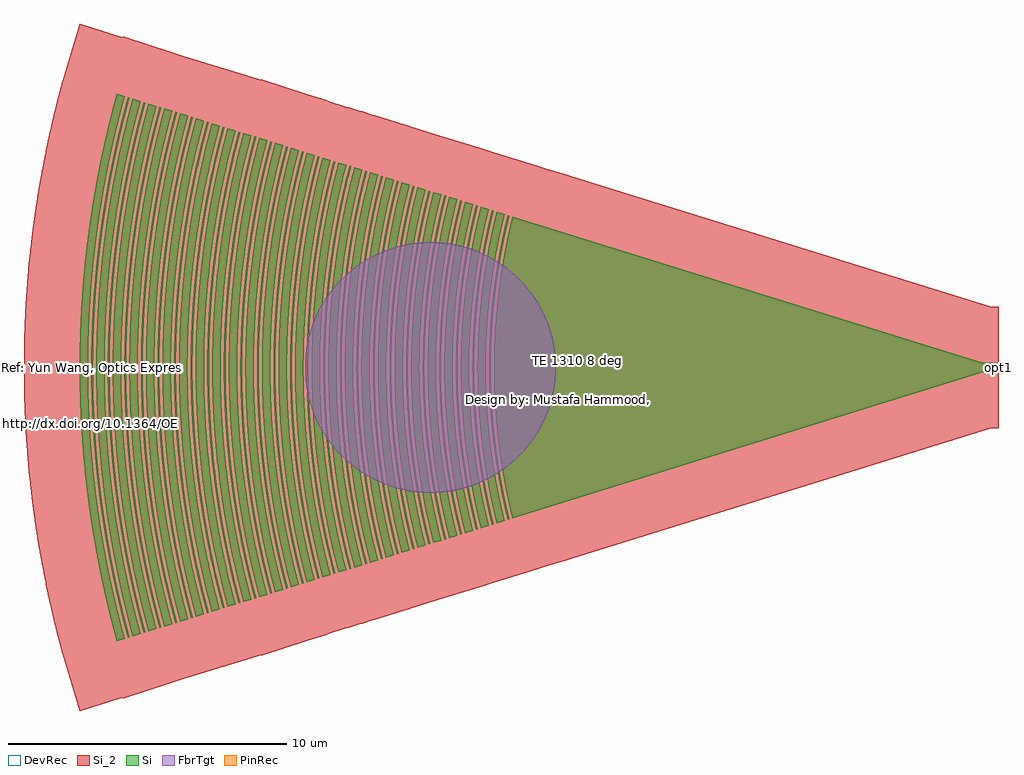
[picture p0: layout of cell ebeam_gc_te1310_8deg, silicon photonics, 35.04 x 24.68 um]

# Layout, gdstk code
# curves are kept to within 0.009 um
import gdstk
lib = gdstk.Library(unit=1e-6, precision=1e-09)
def R(c, l, rs):  # rectangles x0, y0, x1, y1
    for r in rs: c.add(gdstk.rectangle(r[:2], r[2:], *l))
def P(c, l, *ps):  # polygons
    for p in ps: c.add(gdstk.Polygon(p, *l))
Si = (1, 0)
Si_2 = (1, 2)
PinRec = (1, 10)
DevRec = (68, 0)
FbrTgt = (81, 0)

ebeam_gc_te1310_8deg = lib.new_cell('ebeam_gc_te1310_8deg')
R(ebeam_gc_te1310_8deg, Si, [(-0.562,-0.175,0,0.175)])
P(ebeam_gc_te1310_8deg, Si, [(-17.448,-5.418),(-17.448,5.418),(-0.562,0.175),(-0.562,-0.175)],
  [(-17.448,-5.418),(-17.708,-4.245),(-17.832,-3.544),(-17.935,-2.829),(-18.01,-2.162),(-18.063,-1.521),(-18.099,-0.84),(-18.114,-0.187),(-18.108,0.549),(-18.08,1.246),(-18.033,1.91),(-17.954,2.676),(-17.845,3.462),(-17.711,4.229),(-17.448,5.418)],
  [(-17.619,-5.471),(-17.785,-4.76),(-17.91,-4.139),(-18.027,-3.455),(-18.121,-2.783),(-18.194,-2.116),(-18.244,-1.495),(-18.277,-0.866),(-18.293,-0.176),(-18.287,0.548),(-18.26,1.231),(-18.211,1.927),(-18.139,2.635),(-18.029,3.442),(-17.92,4.085),(-17.785,4.76),(-17.619,5.471),(-17.561,5.453),(-17.562,5.446),(-17.719,4.777),(-17.857,4.092),(-17.964,3.464),(-18.077,2.641),(-18.141,2.028),(-18.189,1.402),(-18.218,0.816),(-18.232,0.189),(-18.228,-0.465),(-18.204,-1.133),(-18.159,-1.819),(-18.103,-2.411),(-18.01,-3.156),(-17.88,-3.965),(-17.729,-4.731),(-17.562,-5.446),(-17.561,-5.453)],
  [(-18.016,-5.594),(-18.175,-4.922),(-18.318,-4.219),(-18.441,-3.499),(-18.528,-2.88),(-18.6,-2.24),(-18.654,-1.598),(-18.694,-0.851),(-18.709,-0.194),(-18.704,0.512),(-18.674,1.28),(-18.62,2.026),(-18.545,2.743),(-18.441,3.499),(-18.327,4.171),(-18.184,4.881),(-18.016,5.594),(-17.732,5.506),(-17.877,4.891),(-18.02,4.192),(-18.128,3.572),(-18.23,2.862),(-18.31,2.143),(-18.363,1.484),(-18.395,0.865),(-18.411,0.177),(-18.405,-0.552),(-18.377,-1.253),(-18.329,-1.932),(-18.249,-2.708),(-18.145,-3.464),(-18.045,-4.057),(-17.912,-4.73),(-17.732,-5.506)],
  [(-18.187,-5.647),(-18.328,-5.057),(-18.486,-4.293),(-18.595,-3.67),(-18.696,-2.976),(-18.777,-2.267),(-18.838,-1.528),(-18.873,-0.851),(-18.888,-0.18),(-18.881,0.595),(-18.852,1.3),(-18.802,1.998),(-18.726,2.735),(-18.624,3.485),(-18.5,4.218),(-18.367,4.88),(-18.187,5.647),(-18.129,5.629),(-18.292,4.939),(-18.452,4.143),(-18.559,3.508),(-18.673,2.665),(-18.736,2.053),(-18.784,1.42),(-18.816,0.738),(-18.827,0.193),(-18.823,-0.469),(-18.799,-1.151),(-18.758,-1.792),(-18.69,-2.514),(-18.578,-3.378),(-18.452,-4.143),(-18.292,-4.939),(-18.129,-5.629)],
  [(-18.584,-5.771),(-18.751,-5.07),(-18.894,-4.373),(-19.019,-3.652),(-19.116,-2.971),(-19.186,-2.359),(-19.246,-1.661),(-19.287,-0.912),(-19.304,-0.191),(-19.298,0.566),(-19.267,1.329),(-19.214,2.063),(-19.13,2.859),(-19.019,3.652),(-18.894,4.373),(-18.751,5.07),(-18.584,5.771),(-18.3,5.682),(-18.448,5.061),(-18.597,4.34),(-18.713,3.679),(-18.817,2.96),(-18.897,2.253),(-18.949,1.635),(-18.989,0.905),(-19.006,0.181),(-19,-0.557),(-18.969,-1.322),(-18.917,-2.038),(-18.846,-2.725),(-18.738,-3.52),(-18.624,-4.196),(-18.487,-4.883),(-18.3,-5.682)],
  [(-18.755,-5.824),(-18.919,-5.138),(-19.052,-4.498),(-19.181,-3.771),(-19.289,-3.028),(-19.367,-2.346),(-19.431,-1.578),(-19.466,-0.914),(-19.483,-0.18),(-19.477,0.561),(-19.447,1.317),(-19.394,2.057),(-19.311,2.852),(-19.2,3.652),(-19.08,4.351),(-18.919,5.138),(-18.755,5.824),(-18.697,5.806),(-18.874,5.06),(-19.031,4.282),(-19.151,3.571),(-19.255,2.81),(-19.326,2.135),(-19.374,1.517),(-19.406,0.891),(-19.422,0.194),(-19.417,-0.525),(-19.394,-1.165),(-19.347,-1.889),(-19.28,-2.591),(-19.173,-3.424),(-19.055,-4.15),(-18.895,-4.963),(-18.697,-5.806)],
  [(-19.153,-5.947),(-19.303,-5.325),(-19.464,-4.558),(-19.594,-3.823),(-19.701,-3.085),(-19.79,-2.295),(-19.85,-1.547),(-19.883,-0.898),(-19.899,-0.198),(-19.892,0.61),(-19.858,1.417),(-19.804,2.144),(-19.727,2.877),(-19.621,3.651),(-19.495,4.394),(-19.33,5.204),(-19.153,5.947),(-18.868,5.859),(-19.036,5.155),(-19.183,4.441),(-19.298,3.787),(-19.411,3.004),(-19.487,2.332),(-19.55,1.566),(-19.586,0.863),(-19.601,0.181),(-19.595,-0.565),(-19.561,-1.389),(-19.507,-2.119),(-19.426,-2.884),(-19.317,-3.667),(-19.188,-4.415),(-19.036,-5.155),(-18.868,-5.859)],
  [(-19.324,-6),(-19.509,-5.223),(-19.656,-4.505),(-19.78,-3.792),(-19.876,-3.126),(-19.96,-2.394),(-20.026,-1.596),(-20.062,-0.897),(-20.078,-0.184),(-20.071,0.609),(-20.038,1.402),(-19.983,2.15),(-19.903,2.911),(-19.789,3.735),(-19.672,4.42),(-19.509,5.223),(-19.324,6),(-19.265,5.982),(-19.447,5.221),(-19.606,4.442),(-19.738,3.666),(-19.848,2.859),(-19.918,2.194),(-19.97,1.519),(-20.002,0.873),(-20.017,0.198),(-20.012,-0.528),(-19.986,-1.239),(-19.939,-1.95),(-19.867,-2.695),(-19.752,-3.574),(-19.627,-4.328),(-19.447,-5.221),(-19.265,-5.982)],
  [(-19.721,-6.124),(-19.885,-5.446),(-20.042,-4.7),(-20.178,-3.936),(-20.288,-3.184),(-20.368,-2.495),(-20.431,-1.769),(-20.474,-1.012),(-20.494,-0.195),(-20.486,0.659),(-20.454,1.416),(-20.4,2.158),(-20.313,2.986),(-20.199,3.804),(-20.063,4.591),(-19.898,5.388),(-19.721,6.124),(-19.436,6.035),(-19.591,5.396),(-19.75,4.642),(-19.889,3.857),(-20.001,3.08),(-20.087,2.307),(-20.145,1.584),(-20.181,0.874),(-20.196,0.185),(-20.189,-0.613),(-20.157,-1.388),(-20.099,-2.18),(-20.018,-2.943),(-19.915,-3.692),(-19.775,-4.51),(-19.615,-5.289),(-19.436,-6.035)],
  [(-19.892,-6.177),(-20.061,-5.478),(-20.229,-4.675),(-20.355,-3.962),(-20.463,-3.225),(-20.553,-2.442),(-20.61,-1.775),(-20.653,-1.011),(-20.673,-0.18),(-20.666,0.614),(-20.632,1.437),(-20.581,2.141),(-20.488,3.028),(-20.377,3.823),(-20.244,4.595),(-20.074,5.42),(-19.892,6.177),(-19.834,6.159),(-19.835,6.151),(-20.036,5.311),(-20.193,4.538),(-20.324,3.769),(-20.434,2.968),(-20.506,2.296),(-20.559,1.63),(-20.594,0.964),(-20.612,0.202),(-20.608,-0.487),(-20.58,-1.272),(-20.535,-1.96),(-20.462,-2.727),(-20.347,-3.616),(-20.209,-4.451),(-20.036,-5.311),(-19.835,-6.151),(-19.834,-6.159)],
  [(-20.289,-6.3),(-20.484,-5.492),(-20.62,-4.842),(-20.761,-4.056),(-20.876,-3.275),(-20.97,-2.454),(-21.032,-1.705),(-21.073,-0.919),(-21.089,-0.199),(-21.082,0.626),(-21.053,1.361),(-21,2.125),(-20.907,3.029),(-20.786,3.9),(-20.657,4.65),(-20.484,5.492),(-20.289,6.3),(-20.004,6.212),(-20.183,5.473),(-20.344,4.701),(-20.472,3.977),(-20.591,3.155),(-20.681,2.345),(-20.742,1.571),(-20.776,0.884),(-20.791,0.189),(-20.784,-0.617),(-20.751,-1.423),(-20.699,-2.146),(-20.612,-2.986),(-20.501,-3.794),(-20.362,-4.606),(-20.196,-5.415),(-20.004,-6.212)],
  [(-20.46,-6.353),(-20.66,-5.524),(-20.813,-4.786),(-20.95,-4.008),(-21.071,-3.16),(-21.157,-2.377),(-21.221,-1.554),(-21.252,-0.918),(-21.268,-0.184),(-21.262,0.581),(-21.231,1.382),(-21.17,2.235),(-21.083,3.063),(-20.964,3.919),(-20.813,4.786),(-20.66,5.524),(-20.46,6.353),(-20.402,6.335),(-20.593,5.545),(-20.764,4.719),(-20.905,3.904),(-21.02,3.077),(-21.1,2.333),(-21.158,1.587),(-21.191,0.923),(-21.207,0.205),(-21.202,-0.542),(-21.175,-1.289),(-21.121,-2.094),(-21.048,-2.839),(-20.928,-3.752),(-20.783,-4.617),(-20.611,-5.464),(-20.402,-6.335)],
  [(-20.857,-6.476),(-21.04,-5.729),(-21.201,-4.97),(-21.34,-4.2),(-21.445,-3.503),(-21.544,-2.689),(-21.617,-1.867),(-21.664,-1.035),(-21.684,-0.202),(-21.678,0.592),(-21.641,1.501),(-21.579,2.332),(-21.492,3.146),(-21.379,3.957),(-21.233,4.804),(-21.067,5.609),(-20.857,6.476),(-20.573,6.388),(-20.764,5.599),(-20.938,4.76),(-21.067,4.023),(-21.183,3.215),(-21.27,2.435),(-21.328,1.728),(-21.368,0.976),(-21.386,0.192),(-21.38,-0.584),(-21.344,-1.473),(-21.282,-2.309),(-21.197,-3.103),(-21.087,-3.896),(-20.938,-4.76),(-20.764,-5.599),(-20.573,-6.388)],
  [(-21.028,-6.529),(-21.223,-5.73),(-21.377,-5.001),(-21.531,-4.141),(-21.638,-3.414),(-21.736,-2.57),(-21.8,-1.816),(-21.844,-1.008),(-21.863,-0.191),(-21.855,0.672),(-21.82,1.504),(-21.759,2.328),(-21.67,3.163),(-21.555,3.989),(-21.409,4.835),(-21.223,5.73),(-21.028,6.529),(-20.97,6.511),(-21.176,5.662),(-21.341,4.867),(-21.501,3.941),(-21.619,3.079),(-21.693,2.381),(-21.75,1.652),(-21.788,0.876),(-21.802,0.206),(-21.796,-0.594),(-21.764,-1.416),(-21.713,-2.153),(-21.634,-2.95),(-21.526,-3.775),(-21.372,-4.702),(-21.186,-5.617),(-20.97,-6.511)],
  [(-21.426,-6.653),(-21.623,-5.846),(-21.776,-5.127),(-21.932,-4.266),(-22.047,-3.494),(-22.15,-2.611),(-22.213,-1.874),(-22.26,-1.019),(-22.279,-0.202),(-22.273,0.599),(-22.236,1.517),(-22.17,2.402),(-22.077,3.262),(-21.938,4.231),(-21.809,4.958),(-21.623,5.846),(-21.426,6.653),(-21.141,6.564),(-21.304,5.904),(-21.466,5.157),(-21.605,4.414),(-21.737,3.562),(-21.843,2.684),(-21.917,1.834),(-21.962,1.013),(-21.981,0.192),(-21.975,-0.591),(-21.936,-1.542),(-21.875,-2.355),(-21.784,-3.203),(-21.659,-4.088),(-21.511,-4.93),(-21.33,-5.791),(-21.141,-6.564)],
  [(-21.596,-6.706),(-21.787,-5.931),(-21.973,-5.052),(-22.104,-4.322),(-22.229,-3.482),(-22.323,-2.678),(-22.393,-1.864),(-22.44,-0.995),(-22.458,-0.187),(-22.449,0.715),(-22.407,1.655),(-22.342,2.484),(-22.246,3.351),(-22.136,4.126),(-21.973,5.052),(-21.787,5.931),(-21.596,6.706),(-21.538,6.688),(-21.73,5.907),(-21.921,5),(-22.08,4.088),(-22.205,3.187),(-22.29,2.385),(-22.351,1.573),(-22.382,0.914),(-22.397,0.209),(-22.39,-0.643),(-22.361,-1.395),(-22.31,-2.153),(-22.225,-3.018),(-22.107,-3.911),(-21.95,-4.847),(-21.749,-5.823),(-21.538,-6.688)],
  [(-21.994,-6.829),(-22.208,-5.954),(-22.377,-5.153),(-22.511,-4.41),(-22.638,-3.562),(-22.741,-2.68),(-22.811,-1.851),(-22.856,-1.005),(-22.874,-0.206),(-22.866,0.689),(-22.83,1.551),(-22.77,2.372),(-22.68,3.232),(-22.549,4.175),(-22.401,5.028),(-22.208,5.954),(-21.994,6.829),(-21.709,6.741),(-21.906,5.939),(-22.076,5.14),(-22.221,4.337),(-22.334,3.586),(-22.433,2.762),(-22.509,1.897),(-22.557,1.023),(-22.576,0.195),(-22.569,-0.641),(-22.534,-1.507),(-22.47,-2.38),(-22.384,-3.197),(-22.257,-4.113),(-22.116,-4.932),(-21.927,-5.847),(-21.709,-6.741)],
  [(-22.165,-6.882),(-22.345,-6.156),(-22.53,-5.301),(-22.697,-4.383),(-22.813,-3.603),(-22.919,-2.698),(-22.989,-1.872),(-23.034,-1.032),(-23.053,-0.194),(-23.046,0.645),(-23.01,1.538),(-22.943,2.447),(-22.856,3.265),(-22.736,4.136),(-22.583,5.028),(-22.407,5.884),(-22.165,6.882),(-22.107,6.864),(-22.336,5.923),(-22.525,5.007),(-22.67,4.164),(-22.795,3.264),(-22.876,2.51),(-22.93,1.841),(-22.972,1.061),(-22.992,0.209),(-22.985,-0.651),(-22.954,-1.447),(-22.886,-2.4),(-22.809,-3.146),(-22.688,-4.047),(-22.525,-5.007),(-22.336,-5.923),(-22.107,-6.864)],
  [(-22.562,-7.006),(-22.77,-6.164),(-22.946,-5.341),(-23.102,-4.482),(-23.224,-3.667),(-23.324,-2.827),(-23.401,-1.943),(-23.45,-1.043),(-23.469,-0.205),(-23.459,0.769),(-23.42,1.654),(-23.344,2.626),(-23.242,3.531),(-23.115,4.402),(-22.957,5.285),(-22.77,6.164),(-22.562,7.006),(-22.277,6.917),(-22.477,6.109),(-22.665,5.226),(-22.808,4.433),(-22.938,3.558),(-23.037,2.704),(-23.105,1.903),(-23.151,1.061),(-23.171,0.195),(-23.163,-0.688),(-23.125,-1.593),(-23.056,-2.506),(-22.966,-3.337),(-22.826,-4.323),(-22.671,-5.195),(-22.477,-6.109),(-22.277,-6.917)],
  [(-22.733,-7.059),(-22.95,-6.179),(-23.125,-5.359),(-23.283,-4.483),(-23.402,-3.686),(-23.501,-2.854),(-23.577,-1.989),(-23.63,-1.017),(-23.648,-0.197),(-23.638,0.768),(-23.601,1.623),(-23.536,2.494),(-23.423,3.526),(-23.292,4.428),(-23.122,5.373),(-22.95,6.179),(-22.733,7.059),(-22.675,7.041),(-22.902,6.116),(-23.11,5.114),(-23.271,4.17),(-23.4,3.214),(-23.484,2.392),(-23.54,1.623),(-23.572,0.934),(-23.587,0.213),(-23.581,-0.613),(-23.549,-1.463),(-23.484,-2.392),(-23.4,-3.214),(-23.271,-4.17),(-23.11,-5.114),(-22.902,-6.116),(-22.675,-7.041)],
  [(-23.13,-7.182),(-23.35,-6.295),(-23.532,-5.443),(-23.682,-4.619),(-23.813,-3.751),(-23.914,-2.905),(-23.994,-1.991),(-24.046,-1.027),(-24.064,-0.209),(-24.053,0.814),(-24.005,1.828),(-23.936,2.685),(-23.826,3.653),(-23.71,4.449),(-23.532,5.443),(-23.35,6.295),(-23.13,7.182),(-22.846,7.094),(-23.053,6.257),(-23.237,5.399),(-23.408,4.45),(-23.525,3.656),(-23.619,2.861),(-23.697,1.966),(-23.747,1.046),(-23.766,0.198),(-23.756,-0.772),(-23.718,-1.644),(-23.651,-2.531),(-23.547,-3.483),(-23.417,-4.394),(-23.251,-5.33),(-23.073,-6.17),(-22.846,-7.094)],
  [(-23.301,-7.235),(-23.521,-6.349),(-23.705,-5.49),(-23.867,-4.598),(-23.989,-3.784),(-24.092,-2.922),(-24.176,-1.955),(-24.224,-1.054),(-24.243,-0.196),(-24.233,0.776),(-24.193,1.691),(-24.121,2.629),(-24.024,3.516),(-23.886,4.481),(-23.724,5.393),(-23.521,6.349),(-23.301,7.235),(-23.243,7.217),(-23.453,6.373),(-23.66,5.404),(-23.817,4.526),(-23.944,3.661),(-24.044,2.793),(-24.116,1.939),(-24.161,1.109),(-24.182,0.212),(-24.176,-0.62),(-24.142,-1.516),(-24.085,-2.346),(-23.996,-3.239),(-23.864,-4.227),(-23.697,-5.211),(-23.486,-6.229),(-23.243,-7.217)],
  [(-23.699,-7.359),(-23.919,-6.474),(-24.099,-5.641),(-24.268,-4.722),(-24.399,-3.857),(-24.506,-2.964),(-24.585,-2.069),(-24.64,-1.064),(-24.659,-0.216),(-24.65,0.748),(-24.604,1.787),(-24.53,2.724),(-24.422,3.683),(-24.287,4.607),(-24.125,5.51),(-23.919,6.474),(-23.699,7.359),(-23.414,7.27),(-23.62,6.444),(-23.812,5.557),(-23.974,4.673),(-24.11,3.769),(-24.216,2.873),(-24.292,1.986),(-24.34,1.109),(-24.361,0.197),(-24.35,-0.813),(-24.302,-1.839),(-24.225,-2.781),(-24.123,-3.671),(-23.998,-4.527),(-23.828,-5.476),(-23.633,-6.388),(-23.414,-7.27)],
  [(-23.869,-7.412),(-24.088,-6.536),(-24.293,-5.582),(-24.448,-4.729),(-24.585,-3.815),(-24.69,-2.923),(-24.766,-2.046),(-24.818,-1.092),(-24.838,-0.195),(-24.828,0.785),(-24.781,1.822),(-24.704,2.783),(-24.597,3.725),(-24.448,4.729),(-24.293,5.582),(-24.088,6.536),(-23.869,7.412),(-23.811,7.394),(-24.033,6.504),(-24.237,5.552),(-24.407,4.603),(-24.54,3.691),(-24.637,2.842),(-24.711,1.958),(-24.759,1.039),(-24.777,0.22),(-24.771,-0.625),(-24.738,-1.511),(-24.675,-2.429),(-24.594,-3.246),(-24.467,-4.217),(-24.281,-5.323),(-24.061,-6.382),(-23.811,-7.394)],
  [(-24.267,-7.535),(-24.478,-6.695),(-24.667,-5.833),(-24.834,-4.942),(-24.986,-3.955),(-25.098,-3.023),(-25.177,-2.13),(-25.23,-1.203),(-25.254,-0.215),(-25.242,0.865),(-25.198,1.819),(-25.124,2.762),(-25.016,3.728),(-24.884,4.641),(-24.715,5.592),(-24.505,6.579),(-24.267,7.535),(-23.982,7.447),(-24.2,6.575),(-24.39,5.7),(-24.557,4.793),(-24.697,3.871),(-24.808,2.929),(-24.883,2.064),(-24.938,1.039),(-24.956,0.204),(-24.945,-0.822),(-24.895,-1.889),(-24.822,-2.788),(-24.718,-3.709),(-24.568,-4.727),(-24.413,-5.583),(-24.2,-6.575),(-23.982,-7.447)],
  [(-24.438,-7.588),(-24.67,-6.659),(-24.855,-5.805),(-25.02,-4.915),(-25.162,-3.987),(-25.269,-3.107),(-25.355,-2.149),(-25.411,-1.155),(-25.433,-0.202),(-25.423,0.793),(-25.373,1.888),(-25.293,2.872),(-25.191,3.77),(-25.045,4.765),(-24.883,5.664),(-24.672,6.65),(-24.438,7.588),(-24.38,7.57),(-24.619,6.609),(-24.822,5.659),(-24.992,4.712),(-25.134,3.736),(-25.235,2.84),(-25.309,1.934),(-25.353,1.077),(-25.372,0.219),(-25.363,-0.757),(-25.326,-1.657),(-25.262,-2.547),(-25.16,-3.527),(-25.016,-4.562),(-24.843,-5.551),(-24.636,-6.535),(-24.38,-7.57)],
  [(-24.835,-7.711),(-25.068,-6.783),(-25.267,-5.866),(-25.444,-4.902),(-25.573,-4.053),(-25.691,-3.073),(-25.774,-2.124),(-25.826,-1.191),(-25.849,-0.214),(-25.84,0.763),(-25.797,1.773),(-25.722,2.757),(-25.608,3.789),(-25.469,4.749),(-25.302,5.689),(-25.099,6.649),(-24.835,7.711),(-24.55,7.623),(-24.784,6.689),(-25.003,5.665),(-25.161,4.787),(-25.29,3.922),(-25.395,3.037),(-25.478,2.083),(-25.532,1.076),(-25.551,0.203),(-25.54,-0.83),(-25.496,-1.812),(-25.424,-2.742),(-25.312,-3.755),(-25.176,-4.695),(-25.003,-5.665),(-24.776,-6.724),(-24.55,-7.623)],
  [(-25.006,-7.765),(-25.231,-6.871),(-25.433,-5.947),(-25.62,-4.934),(-25.764,-3.975),(-25.876,-3.022),(-25.952,-2.143),(-26.003,-1.237),(-26.028,-0.201),(-26.018,0.8),(-25.973,1.827),(-25.896,2.817),(-25.784,3.822),(-25.634,4.849),(-25.465,5.787),(-25.268,6.712),(-25.006,7.765),(-24.948,7.746),(-25.184,6.805),(-25.404,5.782),(-25.57,4.863),(-25.726,3.796),(-25.829,2.879),(-25.899,2.027),(-25.948,1.089),(-25.967,0.218),(-25.959,-0.722),(-25.924,-1.618),(-25.848,-2.674),(-25.742,-3.669),(-25.604,-4.652),(-25.404,-5.782),(-25.184,-6.805),(-24.948,-7.746)],
  [(-25.403,-7.888),(-25.598,-7.125),(-25.84,-6.033),(-26.017,-5.081),(-26.167,-4.099),(-26.284,-3.122),(-26.366,-2.186),(-26.417,-1.3),(-26.444,-0.222),(-26.432,0.883),(-26.387,1.873),(-26.308,2.879),(-26.199,3.857),(-26.04,4.944),(-25.869,5.888),(-25.678,6.785),(-25.403,7.888),(-25.119,7.8),(-25.384,6.734),(-25.548,5.974),(-25.733,4.973),(-25.876,4.027),(-25.987,3.095),(-26.069,2.161),(-26.12,1.268),(-26.146,0.202),(-26.135,-0.838),(-26.087,-1.895),(-26.01,-2.864),(-25.903,-3.822),(-25.761,-4.803),(-25.585,-5.788),(-25.384,-6.734),(-25.119,-7.8)],
  [(-25.574,-7.941),(-25.773,-7.162),(-26.013,-6.08),(-26.202,-5.06),(-26.355,-4.044),(-26.464,-3.119),(-26.549,-2.135),(-26.602,-1.151),(-26.623,-0.204),(-26.614,0.769),(-26.57,1.811),(-26.492,2.834),(-26.373,3.906),(-26.212,5),(-26.037,5.96),(-25.831,6.917),(-25.574,7.941),(-25.516,7.923),(-25.796,6.798),(-25.976,5.955),(-26.155,4.971),(-26.314,3.888),(-26.42,2.948),(-26.495,2.032),(-26.544,1.07),(-26.562,0.221),(-26.554,-0.732),(-26.518,-1.651),(-26.444,-2.689),(-26.344,-3.647),(-26.187,-4.774),(-26.011,-5.776),(-25.796,-6.798),(-25.516,-7.923)],
  [(-25.972,-8.064),(-26.211,-7.118),(-26.42,-6.166),(-26.612,-5.13),(-26.758,-4.168),(-26.88,-3.142),(-26.964,-2.165),(-27.015,-1.24),(-27.039,-0.225),(-27.029,0.816),(-26.983,1.874),(-26.894,3.001),(-26.779,4.01),(-26.638,4.973),(-26.453,6.001),(-26.215,7.101),(-25.972,8.064),(-25.687,7.976),(-25.897,7.151),(-26.133,6.081),(-26.312,5.117),(-26.454,4.192),(-26.574,3.203),(-26.66,2.237),(-26.715,1.278),(-26.741,0.205),(-26.732,-0.772),(-26.685,-1.865),(-26.611,-2.829),(-26.492,-3.906),(-26.356,-4.849),(-26.164,-5.926),(-25.957,-6.895),(-25.687,-7.976)],
  [(-26.142,-8.117),(-26.39,-7.138),(-26.591,-6.222),(-26.788,-5.162),(-26.934,-4.201),(-27.049,-3.247),(-27.142,-2.184),(-27.191,-1.313),(-27.218,-0.203),(-27.209,0.775),(-27.16,1.911),(-27.082,2.915),(-26.963,3.983),(-26.801,5.083),(-26.612,6.118),(-26.394,7.121),(-26.142,8.117),(-26.084,8.099),(-26.319,7.174),(-26.575,5.992),(-26.754,4.996),(-26.905,3.956),(-27.009,3.038),(-27.088,2.082),(-27.138,1.108),(-27.157,0.229),(-27.147,-0.818),(-27.104,-1.828),(-27.036,-2.749),(-26.928,-3.773),(-26.775,-4.863),(-26.575,-5.992),(-26.319,-7.174),(-26.084,-8.099)],
  [(-26.54,-8.241),(-26.775,-7.317),(-26.998,-6.308),(-27.18,-5.338),(-27.339,-4.31),(-27.464,-3.278),(-27.551,-2.297),(-27.611,-1.225),(-27.634,-0.224),(-27.625,0.787),(-27.575,1.94),(-27.495,2.967),(-27.37,4.079),(-27.207,5.178),(-27.014,6.229),(-26.804,7.194),(-26.54,8.241),(-26.255,8.152),(-26.51,7.143),(-26.713,6.214),(-26.896,5.231),(-27.053,4.202),(-27.168,3.243),(-27.259,2.202),(-27.31,1.292),(-27.336,0.212),(-27.327,-0.779),(-27.282,-1.849),(-27.191,-3.014),(-27.074,-4.044),(-26.917,-5.105),(-26.734,-6.109),(-26.51,-7.143),(-26.255,-8.152)],
  [(-26.711,-8.294),(-26.946,-7.371),(-27.187,-6.275),(-27.392,-5.156),(-27.531,-4.226),(-27.646,-3.257),(-27.735,-2.233),(-27.789,-1.251),(-27.813,-0.206),(-27.803,0.822),(-27.756,1.912),(-27.669,3.026),(-27.552,4.066),(-27.392,5.156),(-27.208,6.17),(-26.979,7.231),(-26.711,8.294),(-26.652,8.276),(-26.91,7.259),(-27.154,6.13),(-27.338,5.109),(-27.493,4.048),(-27.606,3.046),(-27.681,2.13),(-27.734,1.088),(-27.752,0.223),(-27.741,-0.865),(-27.699,-1.845),(-27.621,-2.886),(-27.512,-3.898),(-27.348,-5.047),(-27.154,-6.13),(-26.91,-7.259),(-26.652,-8.276)],
  [(-27.108,-8.417),(-27.383,-7.33),(-27.587,-6.396),(-27.78,-5.358),(-27.935,-4.343),(-28.063,-3.27),(-28.151,-2.248),(-28.204,-1.288),(-28.229,-0.227),(-28.217,0.907),(-28.165,2.04),(-28.087,3.026),(-27.959,4.163),(-27.798,5.25),(-27.587,6.396),(-27.383,7.33),(-27.108,8.417),(-26.823,8.329),(-27.066,7.376),(-27.302,6.302),(-27.475,5.373),(-27.638,4.315),(-27.766,3.244),(-27.852,2.251),(-27.909,1.202),(-27.931,0.215),(-27.921,-0.826),(-27.871,-1.964),(-27.788,-3.021),(-27.663,-4.128),(-27.508,-5.177),(-27.325,-6.187),(-27.095,-7.253),(-26.823,-8.329)],
  [(-27.279,-8.47),(-27.537,-7.456),(-27.767,-6.408),(-27.953,-5.408),(-28.106,-4.412),(-28.241,-3.287),(-28.329,-2.267),(-28.384,-1.263),(-28.408,-0.213),(-28.397,0.865),(-28.347,1.996),(-28.259,3.107),(-28.135,4.196),(-27.974,5.282),(-27.767,6.408),(-27.537,7.456),(-27.279,8.47),(-27.221,8.452),(-27.495,7.369),(-27.706,6.403),(-27.923,5.217),(-28.076,4.178),(-28.195,3.136),(-28.274,2.181),(-28.321,1.314),(-28.347,0.23),(-28.337,-0.836),(-28.289,-1.946),(-28.217,-2.902),(-28.11,-3.909),(-27.956,-5.012),(-27.75,-6.181),(-27.495,-7.369),(-27.221,-8.452)],
  [(-27.676,-8.594),(-27.928,-7.609),(-28.154,-6.592),(-28.36,-5.496),(-28.517,-4.477),(-28.641,-3.463),(-28.745,-2.282),(-28.8,-1.272),(-28.824,-0.225),(-28.814,0.841),(-28.766,1.961),(-28.677,3.106),(-28.556,4.185),(-28.414,5.169),(-28.205,6.339),(-27.964,7.457),(-27.676,8.594),(-27.392,8.505),(-27.653,7.478),(-27.873,6.479),(-28.064,5.459),(-28.23,4.376),(-28.361,3.273),(-28.446,2.285),(-28.504,1.214),(-28.526,0.214),(-28.513,-0.941),(-28.463,-2.031),(-28.371,-3.174),(-28.247,-4.25),(-28.087,-5.322),(-27.9,-6.345),(-27.674,-7.389),(-27.392,-8.505)],
  [(-27.847,-8.647),(-28.101,-7.655),(-28.34,-6.575),(-28.527,-5.58),(-28.697,-4.481),(-28.828,-3.395),(-28.922,-2.316),(-28.978,-1.298),(-29.003,-0.216),(-28.991,0.913),(-28.942,2.013),(-28.85,3.176),(-28.724,4.28),(-28.559,5.39),(-28.351,6.521),(-28.101,7.655),(-27.847,8.647),(-27.789,8.629),(-28.055,7.585),(-28.288,6.525),(-28.493,5.415),(-28.665,4.262),(-28.775,3.315),(-28.862,2.302),(-28.919,1.25),(-28.942,0.234),(-28.933,-0.801),(-28.892,-1.826),(-28.81,-2.95),(-28.694,-4.035),(-28.539,-5.134),(-28.324,-6.345),(-28.072,-7.513),(-27.789,-8.629)],
  [(-28.244,-8.77),(-28.509,-7.737),(-28.736,-6.715),(-28.929,-5.697),(-29.098,-4.619),(-29.245,-3.407),(-29.328,-2.47),(-29.393,-1.336),(-29.419,-0.228),(-29.405,0.991),(-29.353,2.107),(-29.269,3.166),(-29.138,4.323),(-28.968,5.467),(-28.762,6.587),(-28.509,7.737),(-28.244,8.77),(-27.96,8.682),(-28.232,7.614),(-28.455,6.602),(-28.649,5.566),(-28.806,4.554),(-28.947,3.391),(-29.031,2.445),(-29.097,1.276),(-29.121,0.217),(-29.112,-0.797),(-29.062,-1.985),(-28.97,-3.161),(-28.849,-4.234),(-28.699,-5.266),(-28.486,-6.448),(-28.232,-7.614),(-27.96,-8.682)],
  [(-28.415,-8.823),(-28.695,-7.728),(-28.922,-6.698),(-29.118,-5.653),(-29.287,-4.558),(-29.43,-3.356),(-29.517,-2.337),(-29.575,-1.259),(-29.598,-0.209),(-29.584,0.99),(-29.533,2.095),(-29.448,3.174),(-29.313,4.364),(-29.155,5.433),(-28.935,6.634),(-28.695,7.728),(-28.415,8.823),(-28.357,8.805),(-28.634,7.721),(-28.883,6.584),(-29.083,5.495),(-29.248,4.392),(-29.376,3.285),(-29.457,2.323),(-29.512,1.313),(-29.537,0.237),(-29.527,-0.849),(-29.478,-1.998),(-29.398,-3.053),(-29.28,-4.143),(-29.119,-5.275),(-28.894,-6.529),(-28.634,-7.721),(-28.357,-8.805)],
  [(-28.813,-8.947),(-29.099,-7.827),(-29.333,-6.764),(-29.536,-5.676),(-29.702,-4.594),(-29.825,-3.582),(-29.923,-2.492),(-29.987,-1.371),(-30.014,-0.231),(-30.001,0.966),(-29.951,2.078),(-29.861,3.225),(-29.732,4.369),(-29.564,5.509),(-29.348,6.69),(-29.099,7.827),(-28.813,8.947),(-28.528,8.858),(-28.785,7.859),(-29.037,6.724),(-29.248,5.593),(-29.401,4.594),(-29.53,3.537),(-29.626,2.467),(-29.69,1.339),(-29.716,0.219),(-29.702,-0.994),(-29.653,-2.068),(-29.561,-3.23),(-29.431,-4.372),(-29.268,-5.473),(-29.063,-6.596),(-28.785,-7.859),(-28.528,-8.858)],
  [(-28.984,-9),(-29.261,-7.918),(-29.506,-6.811),(-29.706,-5.744),(-29.877,-4.634),(-30.013,-3.504),(-30.104,-2.47),(-30.168,-1.323),(-30.193,-0.212),(-30.18,0.965),(-30.131,2.066),(-30.039,3.242),(-29.907,4.41),(-29.745,5.511),(-29.521,6.737),(-29.285,7.817),(-28.984,9),(-28.925,8.982),(-29.216,7.844),(-29.458,6.742),(-29.679,5.537),(-29.848,4.392),(-29.966,3.364),(-30.052,2.343),(-30.109,1.273),(-30.132,0.23),(-30.121,-0.897),(-30.078,-1.93),(-29.997,-3.036),(-29.881,-4.13),(-29.731,-5.212),(-29.562,-6.205),(-29.422,-6.917),(-29.252,-7.691),(-29.101,-8.315),(-28.925,-8.982)],
  [(-29.381,-9.123),(-29.656,-8.055),(-29.898,-6.97),(-30.121,-5.785),(-30.292,-4.67),(-30.439,-3.427),(-30.518,-2.513),(-30.581,-1.408),(-30.609,-0.234),(-30.597,0.94),(-30.542,2.161),(-30.453,3.284),(-30.326,4.414),(-30.151,5.606),(-29.938,6.773),(-29.676,7.971),(-29.381,9.123),(-29.096,9.035),(-29.377,7.94),(-29.619,6.847),(-29.833,5.701),(-29.991,4.671),(-30.139,3.431),(-30.223,2.46),(-30.287,1.299),(-30.311,0.222),(-30.299,-0.931),(-30.247,-2.102),(-30.153,-3.29),(-30.025,-4.418),(-29.847,-5.617),(-29.638,-6.754),(-29.377,-7.94),(-29.096,-9.035)],
  [(-29.552,-9.176),(-29.829,-8.1),(-30.067,-7.036),(-30.286,-5.881),(-30.467,-4.711),(-30.558,-3.991),(-30.623,-3.384),(-30.699,-2.491),(-30.762,-1.358),(-30.788,-0.214),(-30.774,1.005),(-30.723,2.134),(-30.623,3.384),(-30.486,4.569),(-30.31,5.739),(-30.092,6.914),(-29.853,8),(-29.552,9.176),(-29.494,9.158),(-29.788,8.01),(-30.046,6.835),(-30.255,5.7),(-30.442,4.437),(-30.569,3.311),(-30.649,2.334),(-30.702,1.336),(-30.727,0.233),(-30.718,-0.823),(-30.667,-2.049),(-30.584,-3.15),(-30.466,-4.248),(-30.336,-5.192),(-30.163,-6.226),(-30.025,-6.938),(-29.851,-7.74),(-29.667,-8.502),(-29.494,-9.158)],
  [(-29.949,-9.299),(-30.254,-8.112),(-30.482,-7.083),(-30.706,-5.893),(-30.886,-4.717),(-31.008,-3.709),(-31.111,-2.563),(-31.177,-1.396),(-31.204,-0.237),(-31.19,1.019),(-31.131,2.274),(-31.029,3.507),(-30.904,4.582),(-30.738,5.702),(-30.511,6.941),(-30.253,8.115),(-29.949,9.299),(-29.664,9.211),(-29.963,8.047),(-30.209,6.931),(-30.41,5.856),(-30.581,4.748),(-30.715,3.645),(-30.816,2.51),(-30.878,1.411),(-30.906,0.225),(-30.892,-1.009),(-30.836,-2.214),(-30.745,-3.349),(-30.599,-4.615),(-30.418,-5.809),(-30.209,-6.931),(-29.963,-8.047),(-29.664,-9.211)],
  [(-30.12,-9.353),(-30.408,-8.236),(-30.651,-7.149),(-30.861,-6.047),(-31.061,-4.758),(-31.209,-3.502),(-31.292,-2.54),(-31.358,-1.345),(-31.383,-0.217),(-31.369,1.018),(-31.311,2.261),(-31.214,3.453),(-31.079,4.624),(-30.892,5.866),(-30.68,7.007),(-30.408,8.236),(-30.12,9.353),(-30.062,9.334),(-30.338,8.267),(-30.615,7.022),(-30.848,5.761),(-31.015,4.643),(-31.142,3.562),(-31.234,2.497),(-31.299,1.295),(-31.322,0.236),(-31.312,-0.871),(-31.265,-2.016),(-31.171,-3.265),(-31.052,-4.357),(-30.918,-5.321),(-30.733,-6.415),(-30.615,-7.022),(-30.444,-7.815),(-30.264,-8.567),(-30.062,-9.334)],
  [(-30.517,-9.476),(-30.812,-8.335),(-31.078,-7.138),(-31.291,-6.001),(-31.463,-4.889),(-31.586,-3.898),(-31.706,-2.583),(-31.771,-1.432),(-31.799,-0.239),(-31.786,0.992),(-31.731,2.213),(-31.638,3.392),(-31.502,4.598),(-31.309,5.895),(-31.078,7.138),(-30.812,8.335),(-30.517,9.476),(-30.233,9.388),(-30.506,8.333),(-30.762,7.195),(-30.985,6.022),(-31.171,4.824),(-31.29,3.862),(-31.411,2.53),(-31.474,1.399),(-31.501,0.218),(-31.488,-0.983),(-31.433,-2.203),(-31.337,-3.412),(-31.197,-4.631),(-31.008,-5.888),(-30.797,-7.024),(-30.531,-8.229),(-30.233,-9.388)],
  [(-30.688,-9.529),(-30.976,-8.418),(-31.246,-7.209),(-31.441,-6.184),(-31.63,-4.986),(-31.769,-3.87),(-31.832,-3.238),(-31.888,-2.547),(-31.951,-1.406),(-31.978,-0.225),(-31.964,1.025),(-31.907,2.264),(-31.811,3.462),(-31.676,4.646),(-31.484,5.933),(-31.255,7.165),(-30.976,8.418),(-30.688,9.529),(-30.63,9.511),(-30.931,8.345),(-31.217,7.046),(-31.437,5.845),(-31.612,4.667),(-31.739,3.572),(-31.834,2.445),(-31.891,1.384),(-31.917,0.244),(-31.904,-0.994),(-31.857,-2.085),(-31.767,-3.28),(-31.643,-4.425),(-31.506,-5.411),(-31.326,-6.48),(-31.18,-7.228),(-31.007,-8.021),(-30.828,-8.763),(-30.63,-9.511)],
  [(-31.086,-9.652),(-31.354,-8.623),(-31.61,-7.501),(-31.851,-6.254),(-32.052,-4.972),(-32.205,-3.704),(-32.3,-2.619),(-32.366,-1.444),(-32.394,-0.237),(-32.381,0.999),(-32.324,2.264),(-32.214,3.615),(-32.08,4.766),(-31.906,5.932),(-31.688,7.122),(-31.403,8.421),(-31.086,9.652),(-30.801,9.564),(-31.106,8.382),(-31.362,7.23),(-31.55,6.245),(-31.748,4.994),(-31.884,3.904),(-32.004,2.58),(-32.069,1.411),(-32.096,0.225),(-32.083,-0.99),(-32.026,-2.253),(-31.934,-3.416),(-31.786,-4.717),(-31.6,-5.955),(-31.374,-7.172),(-31.106,-8.382),(-30.801,-9.564)],
  [(-31.256,-9.705),(-31.534,-8.64),(-31.785,-7.538),(-32.029,-6.274),(-32.22,-5.062),(-32.371,-3.836),(-32.476,-2.664),(-32.547,-1.392),(-32.573,-0.227),(-32.56,0.997),(-32.504,2.25),(-32.403,3.521),(-32.26,4.768),(-32.157,5.493),(-32.061,6.089),(-31.85,7.224),(-31.576,8.466),(-31.433,9.044),(-31.256,9.705),(-31.198,9.687),(-31.508,8.489),(-31.782,7.253),(-32.011,6.019),(-32.196,4.789),(-32.337,3.564),(-32.421,2.581),(-32.487,1.37),(-32.512,0.246),(-32.5,-0.966),(-32.451,-2.118),(-32.361,-3.318),(-32.235,-4.485),(-32.085,-5.561),(-31.881,-6.748),(-31.738,-7.466),(-31.576,-8.2),(-31.399,-8.931),(-31.198,-9.687)],
  [(-31.654,-9.829),(-31.978,-8.574),(-32.233,-7.428),(-32.463,-6.206),(-32.649,-4.998),(-32.782,-3.905),(-32.895,-2.639),(-32.962,-1.43),(-32.989,-0.24),(-32.977,0.97),(-32.921,2.249),(-32.83,3.426),(-32.673,4.819),(-32.473,6.147),(-32.233,7.428),(-31.978,8.574),(-31.654,9.829),(-31.369,9.74),(-31.648,8.671),(-31.906,7.536),(-32.138,6.336),(-32.338,5.071),(-32.483,3.899),(-32.597,2.629),(-32.663,1.447),(-32.691,0.228),(-32.678,-1.001),(-32.623,-2.239),(-32.527,-3.465),(-32.382,-4.746),(-32.195,-6.003),(-31.951,-7.319),(-31.697,-8.468),(-31.369,-9.74)])
P(ebeam_gc_te1310_8deg, Si_2, [(-32.989,-12.341),(-33.626,-10.217),(-33.846,-9.371),(-34.17,-7.942),(-34.464,-6.402),(-34.659,-5.087),(-34.855,-3.247),(-34.951,-1.79),(-34.989,-0.34),(-34.973,1.21),(-34.89,2.808),(-34.737,4.429),(-34.525,6.009),(-34.282,7.391),(-34.059,8.462),(-33.903,9.137),(-33.626,10.217),(-32.989,12.341),(-31.456,11.862),(-31.446,11.892),(-29.632,11.297),(-27.712,10.702),(-26.485,10.328),(-26.479,10.352),(-24.817,9.807),(-24.106,9.591),(-24.109,9.582),(-0.259,2.175),(0,2.175),(0,-2.175),(-0.259,-2.175),(-24.109,-9.582),(-24.106,-9.591),(-24.817,-9.807),(-26.479,-10.352),(-26.485,-10.328),(-27.712,-10.702),(-29.632,-11.297),(-31.446,-11.892),(-31.456,-11.862)])
P(ebeam_gc_te1310_8deg, DevRec, [(-32.989,-12.341),(-33.626,-10.217),(-33.846,-9.371),(-34.17,-7.942),(-34.464,-6.402),(-34.659,-5.087),(-34.855,-3.247),(-34.951,-1.79),(-34.989,-0.34),(-34.973,1.21),(-34.89,2.808),(-34.737,4.429),(-34.525,6.009),(-34.282,7.391),(-34.059,8.462),(-33.903,9.137),(-33.626,10.217),(-32.989,12.341),(-31.456,11.862),(-31.446,11.892),(-29.632,11.297),(-27.712,10.702),(-26.485,10.328),(-26.479,10.352),(-24.817,9.807),(-24.106,9.591),(-24.109,9.582),(-0.259,2.175),(0,2.175),(0,-2.175),(-0.259,-2.175),(-24.109,-9.582),(-24.106,-9.591),(-24.817,-9.807),(-26.479,-10.352),(-26.485,-10.328),(-27.712,-10.702),(-29.632,-11.297),(-31.446,-11.892),(-31.456,-11.862)])
P(ebeam_gc_te1310_8deg, FbrTgt, [(-20.621,-4.5),(-21.061,-4.457),(-21.495,-4.37),(-21.918,-4.242),(-22.326,-4.073),(-22.716,-3.864),(-23.084,-3.619),(-23.426,-3.338),(-23.738,-3.026),(-24.019,-2.684),(-24.264,-2.316),(-24.473,-1.926),(-24.642,-1.518),(-24.77,-1.095),(-24.857,-0.661),(-24.9,-0.221),(-24.9,0.221),(-24.857,0.661),(-24.77,1.095),(-24.642,1.518),(-24.473,1.926),(-24.264,2.316),(-24.019,2.684),(-23.738,3.026),(-23.426,3.338),(-23.084,3.619),(-22.716,3.864),(-22.326,4.073),(-21.918,4.242),(-21.495,4.37),(-21.061,4.457),(-20.621,4.5),(-20.179,4.5),(-19.739,4.457),(-19.305,4.37),(-18.882,4.242),(-18.474,4.073),(-18.084,3.864),(-17.716,3.619),(-17.374,3.338),(-17.062,3.026),(-16.781,2.684),(-16.536,2.316),(-16.327,1.926),(-16.158,1.518),(-16.03,1.095),(-15.943,0.661),(-15.9,0.221),(-15.9,-0.221),(-15.943,-0.661),(-16.03,-1.095),(-16.158,-1.518),(-16.327,-1.926),(-16.536,-2.316),(-16.781,-2.684),(-17.062,-3.026),(-17.374,-3.338),(-17.716,-3.619),(-18.084,-3.864),(-18.474,-4.073),(-18.882,-4.242),(-19.305,-4.37),(-19.739,-4.457),(-20.179,-4.5)])
ebeam_gc_te1310_8deg.add(gdstk.FlexPath([(-0.05,0),(0.05,0)], 0.35, ends="flush", simple_path=True, layer=1, datatype=10))  # PinRec
ebeam_gc_te1310_8deg.add(gdstk.Label('opt1', (0,0), layer=1, texttype=10))
ebeam_gc_te1310_8deg.add(gdstk.Label('Design by: Mustafa Hammood, 2020', (-15.718,-1.132), layer=10, texttype=0))
ebeam_gc_te1310_8deg.add(gdstk.Label('TE 1310 8 deg', (-15.126,0.262), layer=10, texttype=0))
ebeam_gc_te1310_8deg.add(gdstk.Label('Ref: Yun Wang, Optics Express, 08/2014', (-33,0), layer=10, texttype=0))
ebeam_gc_te1310_8deg.add(gdstk.Label('http://dx.doi.org/10.1364/OE.22.020652', (-33,-2), layer=10, texttype=0))

lib.write_gds('ebeam_gc_te1310_8deg.gds')
